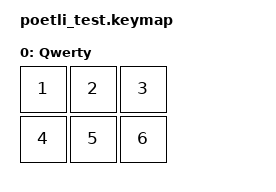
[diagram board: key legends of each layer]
/*
 * Copyright (c) 2021 @MangoIV
 *
 * SPDX-License-Identifier: MIT
 */

#include <behaviors.dtsi>
#include <dt-bindings/zmk/keys.h>
#include <dt-bindings/zmk/bt.h>
#include <dt-bindings/zmk/outputs.h>


/ {
	keymap {
		compatible = "zmk,keymap";
		
		default {
            label = "Qwerty";
			bindings = <
            &kp N1       &kp N2   &kp N3   
            &kp N4       &kp N5   &kp N6     
			>;
		};
	};
};
